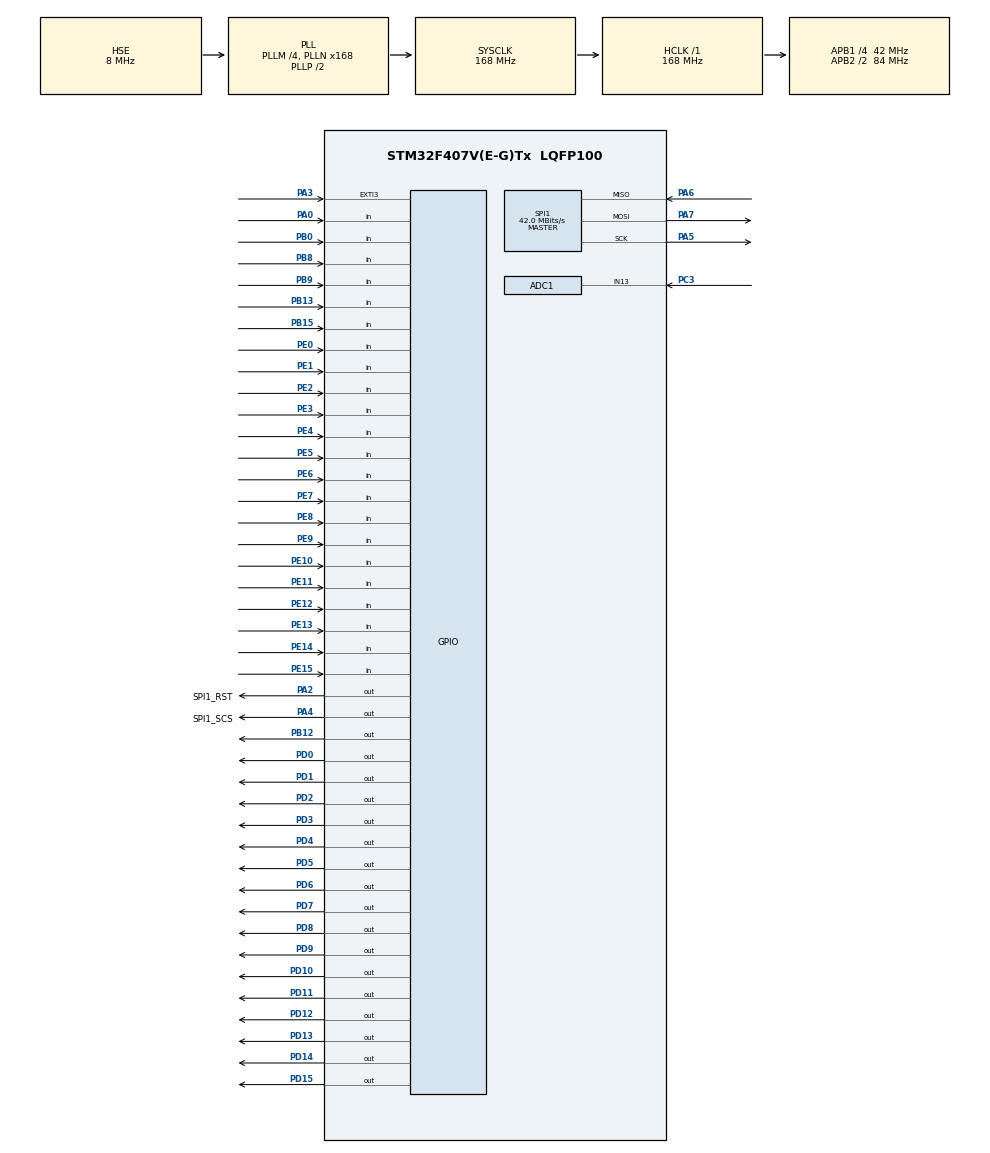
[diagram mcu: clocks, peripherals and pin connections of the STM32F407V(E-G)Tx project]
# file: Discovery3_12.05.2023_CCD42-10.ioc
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ADC1.Channel-17\#ChannelRegularConversion=ADC_CHANNEL_13
ADC1.NbrOfConversionFlag=1
ADC1.Rank-17\#ChannelRegularConversion=1
ADC1.SamplingTime-17\#ChannelRegularConversion=ADC_SAMPLETIME_3CYCLES
ADC1.master=1
Dma.Request0=SPI1_TX
Dma.SPI1_TX.0.Direction=DMA_MEMORY_TO_PERIPH
Dma.SPI1_TX.0.FIFOMode=DMA_FIFOMODE_DISABLE
Dma.SPI1_TX.0.Instance=DMA2_Stream3
Dma.SPI1_TX.0.MemDataAlignment=DMA_MDATAALIGN_BYTE
Dma.SPI1_TX.0.MemInc=DMA_MINC_ENABLE
Dma.SPI1_TX.0.Mode=DMA_NORMAL
Dma.SPI1_TX.0.PeriphDataAlignment=DMA_PDATAALIGN_BYTE
Dma.SPI1_TX.0.PeriphInc=DMA_PINC_DISABLE
Dma.SPI1_TX.0.Priority=DMA_PRIORITY_LOW
Mcu.Family=STM32F4
Mcu.Name=STM32F407V(E-G)Tx
Mcu.Package=LQFP100
NVIC.EXTI3_IRQn=true\:0\:0\:false\:false\:true\:true\:true\:true
NVIC.PriorityGroup=NVIC_PRIORITYGROUP_0
PA0-WKUP.GPIO_PuPd=GPIO_PULLDOWN
PA0-WKUP.Signal=GPIO_Input
PA2.GPIO_Label=SPI1_RST
PA2.GPIO_Speed=GPIO_SPEED_FREQ_VERY_HIGH
PA2.Signal=GPIO_Output
PA3.GPIO_ModeDefaultEXTI=GPIO_MODE_IT_FALLING
PA3.GPIO_PuPd=GPIO_PULLUP
PA3.Signal=GPXTI3
PA4.GPIO_Label=SPI1_SCS
PA4.GPIO_Speed=GPIO_SPEED_FREQ_VERY_HIGH
PA4.Signal=GPIO_Output
PA5.Mode=Full_Duplex_Master
PA5.Signal=SPI1_SCK
PA6.Mode=Full_Duplex_Master
PA6.Signal=SPI1_MISO
PA7.Mode=Full_Duplex_Master
PA7.Signal=SPI1_MOSI
PB0.Signal=GPIO_Input
PB12.GPIO_ModeDefaultOutputPP=GPIO_MODE_OUTPUT_PP
PB12.GPIO_PuPd=GPIO_NOPULL
PB12.GPIO_Speed=GPIO_SPEED_FREQ_VERY_HIGH
PB12.PinState=GPIO_PIN_RESET
PB12.Signal=GPIO_Output
PB13.Signal=GPIO_Input
PB15.Signal=GPIO_Input
PB8.GPIO_Mode=GPIO_MODE_INPUT
PB8.GPIO_PuPd=GPIO_NOPULL
PB8.Signal=GPIO_Input
PB9.GPIO_Mode=GPIO_MODE_INPUT
PB9.GPIO_PuPd=GPIO_NOPULL
PB9.Signal=GPIO_Input
PC3.GPIO_PuPd=GPIO_NOPULL
PC3.Signal=ADCx_IN13
PD0.GPIO_ModeDefaultOutputPP=GPIO_MODE_OUTPUT_PP
PD0.GPIO_PuPd=GPIO_NOPULL
PD0.GPIO_Speed=GPIO_SPEED_FREQ_VERY_HIGH
PD0.PinState=GPIO_PIN_RESET
PD0.Signal=GPIO_Output
PD1.GPIO_ModeDefaultOutputPP=GPIO_MODE_OUTPUT_PP
PD1.GPIO_PuPd=GPIO_NOPULL
PD1.GPIO_Speed=GPIO_SPEED_FREQ_VERY_HIGH
PD1.PinState=GPIO_PIN_RESET
PD1.Signal=GPIO_Output
PD10.GPIO_ModeDefaultOutputPP=GPIO_MODE_OUTPUT_PP
PD10.GPIO_PuPd=GPIO_NOPULL
PD10.GPIO_Speed=GPIO_SPEED_FREQ_VERY_HIGH
PD10.PinState=GPIO_PIN_RESET
PD10.Signal=GPIO_Output
PD11.GPIO_ModeDefaultOutputPP=GPIO_MODE_OUTPUT_PP
PD11.GPIO_PuPd=GPIO_NOPULL
PD11.GPIO_Speed=GPIO_SPEED_FREQ_VERY_HIGH
PD11.PinState=GPIO_PIN_RESET
PD11.Signal=GPIO_Output
PD12.GPIO_ModeDefaultOutputPP=GPIO_MODE_OUTPUT_PP
PD12.GPIO_PuPd=GPIO_NOPULL
PD12.GPIO_Speed=GPIO_SPEED_FREQ_VERY_HIGH
PD12.PinState=GPIO_PIN_RESET
PD12.Signal=GPIO_Output
PD13.GPIO_ModeDefaultOutputPP=GPIO_MODE_OUTPUT_PP
PD13.GPIO_PuPd=GPIO_NOPULL
PD13.GPIO_Speed=GPIO_SPEED_FREQ_VERY_HIGH
PD13.PinState=GPIO_PIN_RESET
PD13.Signal=GPIO_Output
PD14.GPIO_ModeDefaultOutputPP=GPIO_MODE_OUTPUT_PP
PD14.GPIO_PuPd=GPIO_NOPULL
PD14.GPIO_Speed=GPIO_SPEED_FREQ_VERY_HIGH
PD14.PinState=GPIO_PIN_RESET
PD14.Signal=GPIO_Output
PD15.GPIO_ModeDefaultOutputPP=GPIO_MODE_OUTPUT_PP
PD15.GPIO_PuPd=GPIO_NOPULL
PD15.GPIO_Speed=GPIO_SPEED_FREQ_VERY_HIGH
PD15.PinState=GPIO_PIN_RESET
PD15.Signal=GPIO_Output
PD2.GPIO_ModeDefaultOutputPP=GPIO_MODE_OUTPUT_PP
PD2.GPIO_PuPd=GPIO_NOPULL
PD2.GPIO_Speed=GPIO_SPEED_FREQ_VERY_HIGH
PD2.PinState=GPIO_PIN_RESET
PD2.Signal=GPIO_Output
PD3.GPIO_ModeDefaultOutputPP=GPIO_MODE_OUTPUT_PP
PD3.GPIO_PuPd=GPIO_NOPULL
PD3.GPIO_Speed=GPIO_SPEED_FREQ_VERY_HIGH
PD3.PinState=GPIO_PIN_RESET
PD3.Signal=GPIO_Output
PD4.GPIO_ModeDefaultOutputPP=GPIO_MODE_OUTPUT_PP
PD4.GPIO_PuPd=GPIO_NOPULL
PD4.GPIO_Speed=GPIO_SPEED_FREQ_VERY_HIGH
PD4.PinState=GPIO_PIN_RESET
PD4.Signal=GPIO_Output
PD5.GPIO_ModeDefaultOutputPP=GPIO_MODE_OUTPUT_PP
PD5.GPIO_PuPd=GPIO_NOPULL
PD5.GPIO_Speed=GPIO_SPEED_FREQ_VERY_HIGH
PD5.PinState=GPIO_PIN_RESET
PD5.Signal=GPIO_Output
PD6.GPIO_ModeDefaultOutputPP=GPIO_MODE_OUTPUT_PP
PD6.GPIO_PuPd=GPIO_NOPULL
PD6.GPIO_Speed=GPIO_SPEED_FREQ_VERY_HIGH
PD6.PinState=GPIO_PIN_RESET
PD6.Signal=GPIO_Output
PD7.GPIO_ModeDefaultOutputPP=GPIO_MODE_OUTPUT_PP
PD7.GPIO_PuPd=GPIO_NOPULL
PD7.GPIO_Speed=GPIO_SPEED_FREQ_VERY_HIGH
PD7.PinState=GPIO_PIN_RESET
PD7.Signal=GPIO_Output
PD8.GPIO_ModeDefaultOutputPP=GPIO_MODE_OUTPUT_PP
PD8.GPIO_PuPd=GPIO_NOPULL
PD8.GPIO_Speed=GPIO_SPEED_FREQ_VERY_HIGH
PD8.PinState=GPIO_PIN_RESET
PD8.Signal=GPIO_Output
PD9.GPIO_ModeDefaultOutputPP=GPIO_MODE_OUTPUT_PP
PD9.GPIO_PuPd=GPIO_NOPULL
PD9.GPIO_Speed=GPIO_SPEED_FREQ_VERY_HIGH
PD9.PinState=GPIO_PIN_RESET
PD9.Signal=GPIO_Output
PE0.GPIO_PuPd=GPIO_PULLDOWN
PE0.Signal=GPIO_Input
PE1.GPIO_PuPd=GPIO_PULLDOWN
PE1.Signal=GPIO_Input
PE10.GPIO_PuPd=GPIO_PULLDOWN
PE10.Signal=GPIO_Input
PE11.GPIO_PuPd=GPIO_PULLDOWN
PE11.Signal=GPIO_Input
PE12.GPIO_PuPd=GPIO_PULLDOWN
PE12.Signal=GPIO_Input
PE13.GPIO_PuPd=GPIO_PULLDOWN
PE13.Signal=GPIO_Input
PE14.GPIO_PuPd=GPIO_PULLDOWN
PE14.Signal=GPIO_Input
PE15.GPIO_PuPd=GPIO_PULLDOWN
PE15.Signal=GPIO_Input
PE2.GPIO_PuPd=GPIO_PULLDOWN
PE2.Signal=GPIO_Input
PE3.GPIO_PuPd=GPIO_PULLDOWN
PE3.Signal=GPIO_Input
PE4.GPIO_PuPd=GPIO_PULLDOWN
PE4.Signal=GPIO_Input
PE5.GPIO_PuPd=GPIO_PULLDOWN
PE5.Signal=GPIO_Input
PE6.GPIO_PuPd=GPIO_PULLDOWN
PE6.Signal=GPIO_Input
PE7.GPIO_PuPd=GPIO_PULLDOWN
PE7.Signal=GPIO_Input
PE8.GPIO_PuPd=GPIO_PULLDOWN
PE8.Signal=GPIO_Input
PE9.GPIO_PuPd=GPIO_PULLDOWN
PE9.Signal=GPIO_Input
PH0-OSC_IN.GPIO_Label=PH0-OSC_IN
PH0-OSC_IN.Mode=HSE-External-Oscillator
PH0-OSC_IN.Signal=RCC_OSC_IN
PH1-OSC_OUT.GPIO_Label=PH1-OSC_OUT
PH1-OSC_OUT.Mode=HSE-External-Oscillator
PH1-OSC_OUT.Signal=RCC_OSC_OUT
ProjectManager.HeapSize=0x200
ProjectManager.StackSize=0x400
ProjectManager.TargetToolchain=STM32CubeIDE
RCC.48MHZClocksFreq_Value=48000000
RCC.AHBFreq_Value=168000000
RCC.APB1CLKDivider=RCC_HCLK_DIV4
RCC.APB1Freq_Value=42000000
RCC.APB1TimFreq_Value=84000000
RCC.APB2CLKDivider=RCC_HCLK_DIV2
RCC.APB2Freq_Value=84000000
RCC.APB2TimFreq_Value=168000000
RCC.CortexFreq_Value=168000000
RCC.HCLKFreq_Value=168000000
RCC.HSE_VALUE=8000000
RCC.HSI_VALUE=16000000
RCC.LSE_VALUE=32768
RCC.PLLM=4
RCC.PLLN=168
RCC.PLLQ=7
RCC.PLLSourceVirtual=RCC_PLLSOURCE_HSE
RCC.SYSCLKFreq_VALUE=168000000
RCC.SYSCLKSource=RCC_SYSCLKSOURCE_PLLCLK
RCC.VCOOutputFreq_Value=336000000
SH.ADCx_IN13.0=ADC1_IN13,IN13
SPI1.BaudRatePrescaler=SPI_BAUDRATEPRESCALER_2
SPI1.CalculateBaudRate=42.0 MBits/s
SPI1.Direction=SPI_DIRECTION_2LINES
SPI1.Mode=SPI_MODE_MASTER
SPI1.VirtualType=VM_MASTER
board=STM32F407G-DISC1

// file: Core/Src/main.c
/* USER CODE BEGIN Header */
/**
  ******************************************************************************
  * @file           : main.c
  * @brief          : Main program body
  ******************************************************************************
  * @attention
  *
  * Copyright (c) 2023 STMicroelectronics.
  * All rights reserved.
  *
  * This software is licensed under terms that can be found in the LICENSE file
  * in the root directory of this software component.
  * If no LICENSE file comes with this software, it is provided AS-IS.
  *
  ******************************************************************************
  */
/* USER CODE END Header */
#include "main.h"

/* USER CODE BEGIN Includes */
#include "e2v_Clicks.h"
#include "w5500.h"
/* USER CODE END Includes */

ADC_HandleTypeDef hadc1;

SPI_HandleTypeDef hspi1;
DMA_HandleTypeDef hdma_spi1_tx;

void SystemClock_Config(void);
static void MX_GPIO_Init(void);
static void MX_DMA_Init(void);
static void MX_SPI1_Init(void);
static void MX_ADC1_Init(void);

/* USER CODE BEGIN 0 */
#define IP_ADDR {192,168,1,57}
#define IP_ADDR_DETINATION {192,168,1,1}
#define IP_GATE {192,168,1,1}
#define IP_MASK {255,255,255,0}
#define RXBUFF {8,4,0,0,0,0,2,2}  //0,1,2,4,8,16
#define TXBUFF {8,4,0,0,0,0,2,2} //0,1,2,4,8,16
#define LOCAL_PORT 986
#define TCP_PORT 987

uint8_t ipaddr[4]=IP_ADDR;
uint8_t ipgate[4]=IP_GATE;
uint8_t ipmask[4]=IP_MASK;
uint16_t local_port = LOCAL_PORT;
uint16_t tcp_port = TCP_PORT;
uint8_t ipaddr_dest[4] = IP_ADDR_DETINATION;
uint8_t rx_Buff_Size[8] = RXBUFF;
uint8_t tx_Buff_Size[8] = TXBUFF;

extern uint32_t number_Of_Lines;
extern uint32_t number_Of_Rows;
extern uint32_t OR_Clock_period;/*in mks (1, 2, 4)*/
extern uint32_t mS_To_Wait;

extern uint8_t CCD_Mode;
extern uint32_t CCD_Brust_N;
extern uint32_t CCD_Brust_Delay;
char CCD_Name[] = "e2v-CCD42-10";

uint8_t tcp_recieve = 0;

uint8_t tcp_Socket = 7;

/* USER CODE END 0 */

int main(void)
{

  /* MCU Configuration--------------------------------------------------------*/

  /* Reset of all peripherals, Initializes the Flash interface and the Systick. */
  HAL_Init();

  /* Configure the system clock */
  SystemClock_Config();

  /* Initialize all configured peripherals */
  MX_GPIO_Init();
  MX_DMA_Init();
  MX_SPI1_Init();
  MX_ADC1_Init();
  /* USER CODE BEGIN 2 */

  w5500_ini();
  w5500_startUDP(0);
  w5500_startUDP(1);
  w5500_startTCP();

  OR_Clock_period = 1;
  E2V_CLICKS_Ini();
  uint8_t trigger = 0;
  volatile uint32_t counter = 0;
  volatile uint32_t i= 0;
  uint32_t Ticks_To_Wait;

//  E2V_CLICKS_Base_Aqu_Output();

//  __disable_irq();

//  E2V_CLICKS_Base_Aqu_Output(1);
  /* USER CODE END 2 */

  /* Infinite loop */
  /* USER CODE BEGIN WHILE */
  while (1)
  {

	  if ((CCD_Mode & 0x01) == 1)								//Start aqu
	  {
			  if ((CCD_Mode & 0x04) == 0)						//no trigger
			  {
	  		  	  E2V_CLICKS_Base_Aqu_Output();
	  		  	  CCD_Mode = CCD_Mode & 0xFE;
			  }
			  else											//trigger
			  {
				  while(1)
				  {
				  trigger=HAL_GPIO_ReadPin(GPIOB, GPIO_PIN_15);
			  	  if (trigger == 1)							//triggered
			  	  	  {
			  		E2V_CLICKS_Base_Aqu_Output();
			  		  	  break;
			  	  	  }
				  if (tcp_recieve) break;
				  }
			  	  trigger = 0;
	  		  	  CCD_Mode = CCD_Mode & 0xFE;
			  }
	  }

	  if (tcp_recieve)
		  {
		  TCP_Recieve();
		  tcp_recieve = 0;
		  }

//	  for (counter = 0;counter<10;counter++);

    /* USER CODE END WHILE */

  }
}

void SystemClock_Config(void)
{
  RCC_OscInitTypeDef RCC_OscInitStruct = {0};
  RCC_ClkInitTypeDef RCC_ClkInitStruct = {0};

  /** Configure the main internal regulator output voltage
  */
  __HAL_RCC_PWR_CLK_ENABLE();
  __HAL_PWR_VOLTAGESCALING_CONFIG(PWR_REGULATOR_VOLTAGE_SCALE1);

  /** Initializes the RCC Oscillators according to the specified parameters
  * in the RCC_OscInitTypeDef structure.
  */
  RCC_OscInitStruct.OscillatorType = RCC_OSCILLATORTYPE_HSE;
  RCC_OscInitStruct.HSEState = RCC_HSE_ON;
  RCC_OscInitStruct.PLL.PLLState = RCC_PLL_ON;
  RCC_OscInitStruct.PLL.PLLSource = RCC_PLLSOURCE_HSE;
  RCC_OscInitStruct.PLL.PLLM = 4;
  RCC_OscInitStruct.PLL.PLLN = 168;
  RCC_OscInitStruct.PLL.PLLP = RCC_PLLP_DIV2;
  RCC_OscInitStruct.PLL.PLLQ = 7;
  if (HAL_RCC_OscConfig(&RCC_OscInitStruct) != HAL_OK)
  {
    Error_Handler();
  }

  /** Initializes the CPU, AHB and APB buses clocks
  */
  RCC_ClkInitStruct.ClockType = RCC_CLOCKTYPE_HCLK|RCC_CLOCKTYPE_SYSCLK
                              |RCC_CLOCKTYPE_PCLK1|RCC_CLOCKTYPE_PCLK2;
  RCC_ClkInitStruct.SYSCLKSource = RCC_SYSCLKSOURCE_PLLCLK;
  RCC_ClkInitStruct.AHBCLKDivider = RCC_SYSCLK_DIV1;
  RCC_ClkInitStruct.APB1CLKDivider = RCC_HCLK_DIV4;
  RCC_ClkInitStruct.APB2CLKDivider = RCC_HCLK_DIV2;

  if (HAL_RCC_ClockConfig(&RCC_ClkInitStruct, FLASH_LATENCY_5) != HAL_OK)
  {
    Error_Handler();
  }
}

static void MX_ADC1_Init(void)
{

  ADC_ChannelConfTypeDef sConfig = {0};

  /** Configure the global features of the ADC (Clock, Resolution, Data Alignment and number of conversion)
  */
  hadc1.Instance = ADC1;
  hadc1.Init.ClockPrescaler = ADC_CLOCK_SYNC_PCLK_DIV4;
  hadc1.Init.Resolution = ADC_RESOLUTION_12B;
  hadc1.Init.ScanConvMode = DISABLE;
  hadc1.Init.ContinuousConvMode = DISABLE;
  hadc1.Init.DiscontinuousConvMode = DISABLE;
  hadc1.Init.ExternalTrigConvEdge = ADC_EXTERNALTRIGCONVEDGE_NONE;
  hadc1.Init.ExternalTrigConv = ADC_SOFTWARE_START;
  hadc1.Init.DataAlign = ADC_DATAALIGN_RIGHT;
  hadc1.Init.NbrOfConversion = 1;
  hadc1.Init.DMAContinuousRequests = DISABLE;
  hadc1.Init.EOCSelection = ADC_EOC_SINGLE_CONV;
  if (HAL_ADC_Init(&hadc1) != HAL_OK)
  {
    Error_Handler();
  }

  /** Configure for the selected ADC regular channel its corresponding rank in the sequencer and its sample time.
  */
  sConfig.Channel = ADC_CHANNEL_13;
  sConfig.Rank = 1;
  sConfig.SamplingTime = ADC_SAMPLETIME_3CYCLES;
  if (HAL_ADC_ConfigChannel(&hadc1, &sConfig) != HAL_OK)
  {
    Error_Handler();
  }

}

static void MX_SPI1_Init(void)
{

  /* SPI1 parameter configuration*/
  hspi1.Instance = SPI1;
  hspi1.Init.Mode = SPI_MODE_MASTER;
  hspi1.Init.Direction = SPI_DIRECTION_2LINES;
  hspi1.Init.DataSize = SPI_DATASIZE_8BIT;
  hspi1.Init.CLKPolarity = SPI_POLARITY_LOW;
  hspi1.Init.CLKPhase = SPI_PHASE_1EDGE;
  hspi1.Init.NSS = SPI_NSS_SOFT;
  hspi1.Init.BaudRatePrescaler = SPI_BAUDRATEPRESCALER_2;
  hspi1.Init.FirstBit = SPI_FIRSTBIT_MSB;
  hspi1.Init.TIMode = SPI_TIMODE_DISABLE;
  hspi1.Init.CRCCalculation = SPI_CRCCALCULATION_DISABLE;
  hspi1.Init.CRCPolynomial = 10;
  if (HAL_SPI_Init(&hspi1) != HAL_OK)
  {
    Error_Handler();
  }

}

static void MX_DMA_Init(void)
{

  /* DMA controller clock enable */
  __HAL_RCC_DMA2_CLK_ENABLE();

}

static void MX_GPIO_Init(void)
{
  GPIO_InitTypeDef GPIO_InitStruct = {0};

  /* GPIO Ports Clock Enable */
  __HAL_RCC_GPIOE_CLK_ENABLE();
  __HAL_RCC_GPIOH_CLK_ENABLE();
  __HAL_RCC_GPIOC_CLK_ENABLE();
  __HAL_RCC_GPIOA_CLK_ENABLE();
  __HAL_RCC_GPIOB_CLK_ENABLE();
  __HAL_RCC_GPIOD_CLK_ENABLE();

  /*Configure GPIO pin Output Level */
  HAL_GPIO_WritePin(GPIOA, SPI1_RST_Pin|SPI1_SCS_Pin, GPIO_PIN_RESET);

  /*Configure GPIO pin Output Level */
  HAL_GPIO_WritePin(GPIOB, GPIO_PIN_12, GPIO_PIN_RESET);

  /*Configure GPIO pin Output Level */
  HAL_GPIO_WritePin(GPIOD, GPIO_PIN_8|GPIO_PIN_9|GPIO_PIN_10|GPIO_PIN_11
                          |GPIO_PIN_12|GPIO_PIN_13|GPIO_PIN_14|GPIO_PIN_15
                          |GPIO_PIN_0|GPIO_PIN_1|GPIO_PIN_2|GPIO_PIN_3
                          |GPIO_PIN_4|GPIO_PIN_5|GPIO_PIN_6|GPIO_PIN_7, GPIO_PIN_RESET);

  /*Configure GPIO pins : PE2 PE3 PE4 PE5
                           PE6 PE7 PE8 PE9
                           PE10 PE11 PE12 PE13
                           PE14 PE15 PE0 PE1 */
  GPIO_InitStruct.Pin = GPIO_PIN_2|GPIO_PIN_3|GPIO_PIN_4|GPIO_PIN_5
                          |GPIO_PIN_6|GPIO_PIN_7|GPIO_PIN_8|GPIO_PIN_9
                          |GPIO_PIN_10|GPIO_PIN_11|GPIO_PIN_12|GPIO_PIN_13
                          |GPIO_PIN_14|GPIO_PIN_15|GPIO_PIN_0|GPIO_PIN_1;
  GPIO_InitStruct.Mode = GPIO_MODE_INPUT;
  GPIO_InitStruct.Pull = GPIO_PULLDOWN;
  HAL_GPIO_Init(GPIOE, &GPIO_InitStruct);

  /*Configure GPIO pin : PA0 */
  GPIO_InitStruct.Pin = GPIO_PIN_0;
  GPIO_InitStruct.Mode = GPIO_MODE_INPUT;
  GPIO_InitStruct.Pull = GPIO_PULLDOWN;
  HAL_GPIO_Init(GPIOA, &GPIO_InitStruct);

  /*Configure GPIO pins : SPI1_RST_Pin SPI1_SCS_Pin */
  GPIO_InitStruct.Pin = SPI1_RST_Pin|SPI1_SCS_Pin;
  GPIO_InitStruct.Mode = GPIO_MODE_OUTPUT_PP;
  GPIO_InitStruct.Pull = GPIO_NOPULL;
  GPIO_InitStruct.Speed = GPIO_SPEED_FREQ_VERY_HIGH;
  HAL_GPIO_Init(GPIOA, &GPIO_InitStruct);

  /*Configure GPIO pin : PA3 */
  GPIO_InitStruct.Pin = GPIO_PIN_3;
  GPIO_InitStruct.Mode = GPIO_MODE_IT_FALLING;
  GPIO_InitStruct.Pull = GPIO_PULLUP;
  HAL_GPIO_Init(GPIOA, &GPIO_InitStruct);

  /*Configure GPIO pins : PB0 PB13 PB15 PB8
                           PB9 */
  GPIO_InitStruct.Pin = GPIO_PIN_0|GPIO_PIN_13|GPIO_PIN_15|GPIO_PIN_8
                          |GPIO_PIN_9;
  GPIO_InitStruct.Mode = GPIO_MODE_INPUT;
  GPIO_InitStruct.Pull = GPIO_NOPULL;
  HAL_GPIO_Init(GPIOB, &GPIO_InitStruct);

  /*Configure GPIO pin : PB12 */
  GPIO_InitStruct.Pin = GPIO_PIN_12;
  GPIO_InitStruct.Mode = GPIO_MODE_OUTPUT_PP;
  GPIO_InitStruct.Pull = GPIO_NOPULL;
  GPIO_InitStruct.Speed = GPIO_SPEED_FREQ_VERY_HIGH;
  HAL_GPIO_Init(GPIOB, &GPIO_InitStruct);

  /*Configure GPIO pins : PD8 PD9 PD10 PD11
                           PD12 PD13 PD14 PD15
                           PD0 PD1 PD2 PD3
                           PD4 PD5 PD6 PD7 */
  GPIO_InitStruct.Pin = GPIO_PIN_8|GPIO_PIN_9|GPIO_PIN_10|GPIO_PIN_11
                          |GPIO_PIN_12|GPIO_PIN_13|GPIO_PIN_14|GPIO_PIN_15
                          |GPIO_PIN_0|GPIO_PIN_1|GPIO_PIN_2|GPIO_PIN_3
                          |GPIO_PIN_4|GPIO_PIN_5|GPIO_PIN_6|GPIO_PIN_7;
  GPIO_InitStruct.Mode = GPIO_MODE_OUTPUT_PP;
  GPIO_InitStruct.Pull = GPIO_NOPULL;
  GPIO_InitStruct.Speed = GPIO_SPEED_FREQ_VERY_HIGH;
  HAL_GPIO_Init(GPIOD, &GPIO_InitStruct);

  /* EXTI interrupt init*/
  HAL_NVIC_SetPriority(EXTI3_IRQn, 0, 0);
  HAL_NVIC_EnableIRQ(EXTI3_IRQn);

}

void Error_Handler(void)
{
  __disable_irq();
  while (1)
  {
  }
}
